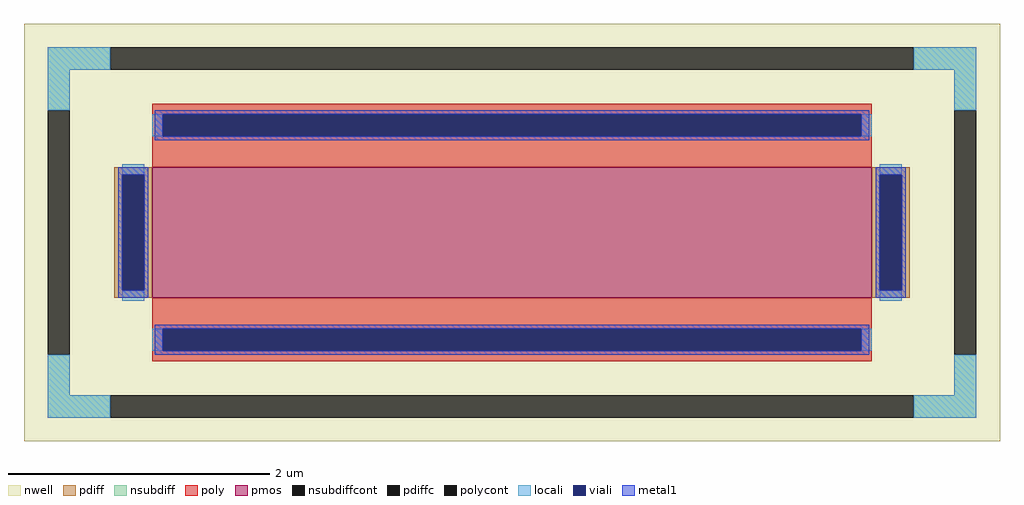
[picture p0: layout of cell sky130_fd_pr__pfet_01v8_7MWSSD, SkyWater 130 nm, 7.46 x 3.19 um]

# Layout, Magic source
magic
tech sky130A
magscale 1 2
<< nwell >>
rect -746 -319 746 319
<< pmos >>
rect -550 -100 550 100
<< pdiff >>
rect -608 88 -550 100
rect -608 -88 -596 88
rect -562 -88 -550 88
rect -608 -100 -550 -88
rect 550 88 608 100
rect 550 -88 562 88
rect 596 -88 608 88
rect 550 -100 608 -88
<< pdiffc >>
rect -596 -88 -562 88
rect 562 -88 596 88
<< nsubdiff >>
rect -710 249 -614 283
rect 614 249 710 283
rect -710 187 -676 249
rect 676 187 710 249
rect -710 -249 -676 -187
rect 676 -249 710 -187
rect -710 -283 -614 -249
rect 614 -283 710 -249
<< nsubdiffcont >>
rect -614 249 614 283
rect -710 -187 -676 187
rect 676 -187 710 187
rect -614 -283 614 -249
<< poly >>
rect -550 181 550 197
rect -550 147 -534 181
rect 534 147 550 181
rect -550 100 550 147
rect -550 -147 550 -100
rect -550 -181 -534 -147
rect 534 -181 550 -147
rect -550 -197 550 -181
<< polycont >>
rect -534 147 534 181
rect -534 -181 534 -147
<< locali >>
rect -710 249 -614 283
rect 614 249 710 283
rect -710 187 -676 249
rect 676 187 710 249
rect -550 147 -534 181
rect 534 147 550 181
rect -596 88 -562 104
rect -596 -104 -562 -88
rect 562 88 596 104
rect 562 -104 596 -88
rect -550 -181 -534 -147
rect 534 -181 550 -147
rect -710 -249 -676 -187
rect 676 -249 710 -187
rect -710 -283 -614 -249
rect 614 -283 710 -249
<< viali >>
rect -534 147 534 181
rect -596 -88 -562 88
rect 562 -88 596 88
rect -534 -181 534 -147
<< metal1 >>
rect -546 181 546 187
rect -546 147 -534 181
rect 534 147 546 181
rect -546 141 546 147
rect -602 88 -556 100
rect -602 -88 -596 88
rect -562 -88 -556 88
rect -602 -100 -556 -88
rect 556 88 602 100
rect 556 -88 562 88
rect 596 -88 602 88
rect 556 -100 602 -88
rect -546 -147 546 -141
rect -546 -181 -534 -147
rect 534 -181 546 -147
rect -546 -187 546 -181
<< properties >>
string FIXED_BBOX -693 -266 693 266
string gencell sky130_fd_pr__pfet_01v8
string library sky130
string parameters w 1 l 5.5 m 1 nf 1 diffcov 100 polycov 100 guard 1 glc 1 grc 1 gtc 1 gbc 1 tbcov 100 rlcov 100 topc 1 botc 1 poverlap 0 doverlap 1 lmin 0.15 wmin 0.42 compatible {sky130_fd_pr__pfet_01v8  sky130_fd_pr__pfet_01v8_lvt sky130_fd_pr__pfet_01v8_hvt  sky130_fd_pr__pfet_g5v0d10v5} full_metal 1 viasrc 100 viadrn 100 viagate 100 viagb 0 viagr 0 viagl 0 viagt 0
<< end >>
